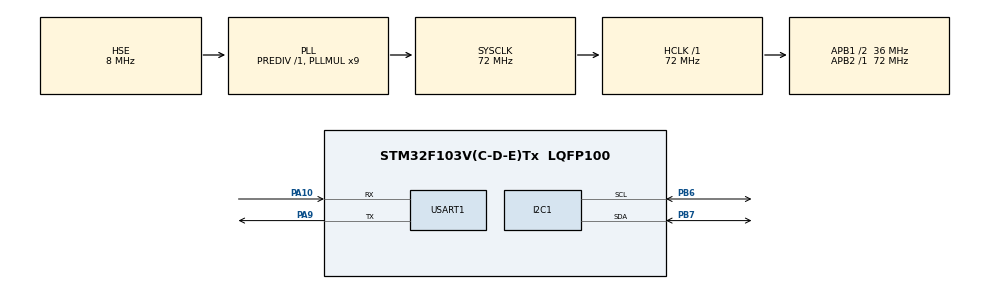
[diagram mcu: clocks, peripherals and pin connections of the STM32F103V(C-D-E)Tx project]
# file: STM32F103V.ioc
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Dma.Request0=USART1_RX
Dma.USART1_RX.0.Direction=DMA_PERIPH_TO_MEMORY
Dma.USART1_RX.0.Instance=DMA1_Channel5
Dma.USART1_RX.0.MemDataAlignment=DMA_MDATAALIGN_BYTE
Dma.USART1_RX.0.MemInc=DMA_MINC_ENABLE
Dma.USART1_RX.0.Mode=DMA_NORMAL
Dma.USART1_RX.0.PeriphDataAlignment=DMA_PDATAALIGN_BYTE
Dma.USART1_RX.0.PeriphInc=DMA_PINC_DISABLE
Dma.USART1_RX.0.Priority=DMA_PRIORITY_LOW
I2C1.I2C_Mode=I2C_Fast
I2C1.OwnAddress=0x34
Mcu.Family=STM32F1
Mcu.Name=STM32F103V(C-D-E)Tx
Mcu.Package=LQFP100
NVIC.DMA1_Channel5_IRQn=true\:0\:0\:false\:false\:true\:true
NVIC.PriorityGroup=NVIC_PRIORITYGROUP_4
NVIC.USART1_IRQn=true\:0\:0\:false\:false\:true\:true
OSC_IN.Mode=HSE-External-Oscillator
OSC_IN.Signal=RCC_OSC_IN
OSC_OUT.Mode=HSE-External-Oscillator
OSC_OUT.Signal=RCC_OSC_OUT
PA10.Mode=Asynchronous
PA10.Signal=USART1_RX
PA13.Mode=Serial_Wire
PA13.Signal=SYS_JTMS-SWDIO
PA14.Mode=Serial_Wire
PA14.Signal=SYS_JTCK-SWCLK
PA9.Mode=Asynchronous
PA9.Signal=USART1_TX
PB6.Mode=I2C
PB6.Signal=I2C1_SCL
PB7.Mode=I2C
PB7.Signal=I2C1_SDA
ProjectManager.HeapSize=0x1000
ProjectManager.StackSize=0x1000
ProjectManager.TargetToolchain=MDK-ARM V5
RCC.AHBFreq_Value=72000000
RCC.APB1CLKDivider=RCC_HCLK_DIV2
RCC.APB1Freq_Value=36000000
RCC.APB1TimFreq_Value=72000000
RCC.APB2Freq_Value=72000000
RCC.APB2TimFreq_Value=72000000
RCC.HCLKFreq_Value=72000000
RCC.PLLMUL=RCC_PLL_MUL9
RCC.PLLSourceVirtual=RCC_PLLSOURCE_HSE
RCC.SYSCLKFreq_VALUE=72000000
RCC.SYSCLKSource=RCC_SYSCLKSOURCE_PLLCLK
RCC.USBFreq_Value=72000000
USART1.VirtualMode=VM_ASYNC
board=STM32F103V

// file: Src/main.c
/**
  ******************************************************************************
  * File Name          : main.c
  * Description        : Main program body
  ******************************************************************************
  *
  * COPYRIGHT(c) 2018 STMicroelectronics
  *
  * Redistribution and use in source and binary forms, with or without modification,
  * are permitted provided that the following conditions are met:
  *   1. Redistributions of source code must retain the above copyright notice,
  *      this list of conditions and the following disclaimer.
  *   2. Redistributions in binary form must reproduce the above copyright notice,
  *      this list of conditions and the following disclaimer in the documentation
  *      and/or other materials provided with the distribution.
  *   3. Neither the name of STMicroelectronics nor the names of its contributors
  *      may be used to endorse or promote products derived from this software
  *      without specific prior written permission.
  *
  * THIS SOFTWARE IS PROVIDED BY THE COPYRIGHT HOLDERS AND CONTRIBUTORS "AS IS"
  * AND ANY EXPRESS OR IMPLIED WARRANTIES, INCLUDING, BUT NOT LIMITED TO, THE
  * IMPLIED WARRANTIES OF MERCHANTABILITY AND FITNESS FOR A PARTICULAR PURPOSE ARE
  * DISCLAIMED. IN NO EVENT SHALL THE COPYRIGHT HOLDER OR CONTRIBUTORS BE LIABLE
  * FOR ANY DIRECT, INDIRECT, INCIDENTAL, SPECIAL, EXEMPLARY, OR CONSEQUENTIAL
  * DAMAGES (INCLUDING, BUT NOT LIMITED TO, PROCUREMENT OF SUBSTITUTE GOODS OR
  * SERVICES; LOSS OF USE, DATA, OR PROFITS; OR BUSINESS INTERRUPTION) HOWEVER
  * CAUSED AND ON ANY THEORY OF LIABILITY, WHETHER IN CONTRACT, STRICT LIABILITY,
  * OR TORT (INCLUDING NEGLIGENCE OR OTHERWISE) ARISING IN ANY WAY OUT OF THE USE
  * OF THIS SOFTWARE, EVEN IF ADVISED OF THE POSSIBILITY OF SUCH DAMAGE.
  *
  ******************************************************************************
  */
#include "main.h"
#include "stm32f1xx_hal.h"
#include "dma.h"
#include "i2c.h"
#include "usart.h"
#include "gpio.h"

/* USER CODE BEGIN Includes */
#include "string.h"
#define ADDR_24LCxx_Write 0xA0
#define ADDR_24LCxx_Read 0xA1

#define BufferSize 0x100
uint8_t WriteBuffer[BufferSize],ReadBuffer[BufferSize];
uint16_t i;
uint8_t error_flag=0;
/* USER CODE END Includes */

/* USER CODE BEGIN PV */
/* Private variables ---------------------------------------------------------*/

/* USER CODE END PV */

void SystemClock_Config(void);
void Error_Handler(void);
void at24c02test(void);
void At24c02WriteDouble(double temp,uint8_t addr);
double At24c02ReadDouble(uint8_t addr);

/* USER CODE BEGIN PFP */
/* Private function prototypes -----------------------------------------------*/

/* USER CODE END PFP */

int main(void)
{
	double testdou=2.59;
	double senddou;

  /* MCU Configuration----------------------------------------------------------*/

  /* Reset of all peripherals, Initializes the Flash interface and the Systick. */
  HAL_Init();

  /* Configure the system clock */
  SystemClock_Config();

  /* Initialize all configured peripherals */
  MX_GPIO_Init();
  MX_DMA_Init();
  MX_USART1_UART_Init();
  MX_I2C1_Init();

  /* USER CODE BEGIN 2 */
	HAL_UART_Receive_DMA(&huart1, UsartType.RX_pData, RX_LEN);
	__HAL_UART_ENABLE_IT(&huart1, UART_IT_IDLE);

//	At24c02WriteDouble(testdou,0x48);
//
//	printf("iic write data:%lf\r\n",testdou);

	senddou=At24c02ReadDouble(0x48);

	printf("iic read data:%f\r\n",senddou);

  /* USER CODE END 2 */

  /* Infinite loop */
  while (1)
  {

  /* USER CODE BEGIN 3 */
			if(UsartType.RX_flag)    	// Receive flag
			{
					UsartType.RX_flag=0;	// clean flag
					HAL_UART_Transmit(&huart1, UsartType.RX_pData, UsartType.RX_Size, 0xFFFF);
			}
			while(!error_flag)
				at24c02test();
//			HAL_Delay(100);
  }
  /* USER CODE END 3 */

}

/** System Clock Configuration
*/
void SystemClock_Config(void)
{

  RCC_OscInitTypeDef RCC_OscInitStruct;
  RCC_ClkInitTypeDef RCC_ClkInitStruct;

    /**Initializes the CPU, AHB and APB busses clocks
    */
  RCC_OscInitStruct.OscillatorType = RCC_OSCILLATORTYPE_HSE;
  RCC_OscInitStruct.HSEState = RCC_HSE_ON;
  RCC_OscInitStruct.HSEPredivValue = RCC_HSE_PREDIV_DIV1;
  RCC_OscInitStruct.HSIState = RCC_HSI_ON;
  RCC_OscInitStruct.PLL.PLLState = RCC_PLL_ON;
  RCC_OscInitStruct.PLL.PLLSource = RCC_PLLSOURCE_HSE;
  RCC_OscInitStruct.PLL.PLLMUL = RCC_PLL_MUL9;
  if (HAL_RCC_OscConfig(&RCC_OscInitStruct) != HAL_OK)
  {
    Error_Handler();
  }

    /**Initializes the CPU, AHB and APB busses clocks
    */
  RCC_ClkInitStruct.ClockType = RCC_CLOCKTYPE_HCLK|RCC_CLOCKTYPE_SYSCLK
                              |RCC_CLOCKTYPE_PCLK1|RCC_CLOCKTYPE_PCLK2;
  RCC_ClkInitStruct.SYSCLKSource = RCC_SYSCLKSOURCE_PLLCLK;
  RCC_ClkInitStruct.AHBCLKDivider = RCC_SYSCLK_DIV1;
  RCC_ClkInitStruct.APB1CLKDivider = RCC_HCLK_DIV2;
  RCC_ClkInitStruct.APB2CLKDivider = RCC_HCLK_DIV1;

  if (HAL_RCC_ClockConfig(&RCC_ClkInitStruct, FLASH_LATENCY_2) != HAL_OK)
  {
    Error_Handler();
  }

    /**Configure the Systick interrupt time
    */
  HAL_SYSTICK_Config(HAL_RCC_GetHCLKFreq()/1000);

    /**Configure the Systick
    */
  HAL_SYSTICK_CLKSourceConfig(SYSTICK_CLKSOURCE_HCLK);

  /* SysTick_IRQn interrupt configuration */
  HAL_NVIC_SetPriority(SysTick_IRQn, 0, 0);
}

/* USER CODE BEGIN 4 */

void At24c02WriteDouble(double temp,uint8_t addr)
{
	uint8_t i;
	union{double x;uint8_t s[8];}union_double;
	union_double.x=temp;
	for(i=0;i<8;i++)
	{
		HAL_I2C_Mem_Write(&hi2c1, ADDR_24LCxx_Write, addr+i, I2C_MEMADD_SIZE_8BIT,&union_double.s[i],1,0xff);
		HAL_Delay(5);
	}
}

double At24c02ReadDouble(uint8_t addr)
{
	union{double x;uint8_t s[8];}union_double;
	HAL_I2C_Mem_Read(&hi2c1, ADDR_24LCxx_Read, addr, I2C_MEMADD_SIZE_8BIT,union_double.s,8,0xff);
	return union_double.x;
}

void at24c02test()
{
	printf("\r\n***************I2C Example*******************************\r\n");
	printf("WriteBuffer\r\n");

	for(i=0; i<256; i++)
	{
		WriteBuffer[i]=i;    /* WriteBuffer init */
		printf("0x%02X  ",WriteBuffer[i]);
	}

	/* wrinte date to EEPROM */
	for(i=0;i<256;i++)
	{
		HAL_I2C_Mem_Write(&hi2c1, ADDR_24LCxx_Write, i, I2C_MEMADD_SIZE_8BIT,&WriteBuffer[i],1,0xff);//使用I2C块读，出错。因此采用此种方式，逐个单字节写入
		//HAL_Delay(5);//此处延时必加，与AT24C02写时序有关
	}
	printf("\r\n EEPROM 24C02 Write Test OK \r\n");

	HAL_I2C_Mem_Read(&hi2c1, ADDR_24LCxx_Read, 0, I2C_MEMADD_SIZE_8BIT,ReadBuffer,BufferSize,0xff);

	for(i=0; i<256; i++)
	{
		printf("0x%02X  ",ReadBuffer[i]);
	}

	if(memcmp(WriteBuffer,ReadBuffer,BufferSize) == 0 ) /* check date */
	{
		printf("\r\n EEPROM 24C02 Read Test OK\r\n");
	}
	else
	{
		printf("\r\n EEPROM 24C02 Read Test False\r\n");
		error_flag=1;
	}
}
/* USER CODE END 4 */

void Error_Handler(void)
{
  while(1)
  {
  }
}

/************************ (C) COPYRIGHT STMicroelectronics *****END OF FILE****/
